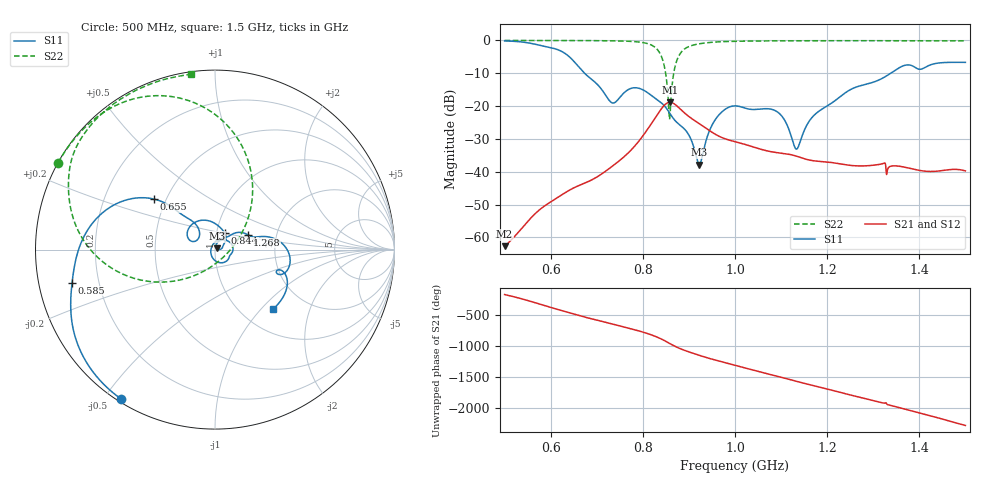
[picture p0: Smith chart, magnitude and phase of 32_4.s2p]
! TOUCHSTONE file generated by CST MICROWAVE STUDIO
! Date and time: Wed Oct 28 19:19:35 2020
! Project name: Scenario_1_Circular_Tissue_out_of_Line.cst
! Parameters = {dy1=191.571; L_HA=400; MT=2.54; Rad_Dielectric=30; Rad_Lower=7.3; Rad_Upper=30; a_HA=580; a_WG=246; b_HA=500; b_WG=121; c_HA=0; c_WG=187; d_feed=85; dx1=693; h_feed=15; h_lower=18; h_upper=40}
! Header version: 2018
! Port assignment regex: !\s*Touchstone port\s*([0-9]+)\s*=\s*(CST MWS port|CST DS port)\s*([0-9]+|Zmin|Zmax)\s*\(\"(.*)\"\)(\s*mode\s*([0-9]+))?.*
! Touchstone port assignment:
! Touchstone port 1 = CST MWS port 1 ("")
! Touchstone port 2 = CST MWS port 2 ("")
# GHz S DB R 50
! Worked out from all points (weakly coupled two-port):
!   1001 points, 500 MHz to 1.5 GHz, reference 50 ohm
!   highest |S21| = -18.84 dB at 859 MHz (marker M1); lowest = -62.7 dB at 500 MHz (marker M2)
!   lowest |S11| = -37.9 dB at 922 MHz (marker M3), VSWR 1.03, Z = 51.1 + j0.735 ohm
!   |S11| at or under -10 dB: 673.5 MHz to 1.338 GHz (664.2 MHz wide, 66.1 % of centre)
!   |S22| runs from -24.1 to 0.0 dB; largest |S21 - S12| = 0.0013
!   S11 on the Smith chart (normalised r, x): 500 MHz: 0.01, -0.55; 585 MHz: 0.10, -0.11; 655 MHz: 0.43, +0.30; 844 MHz: 1.10, +0.20; 1.268 GHz: 1.42, +0.25; 1.5 GHz: 1.37, -1.17
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0.5  -0.15 -122.3  -62.68 -174.7  -62.68 -174.7  -0.01 151.1
0.585  -1.75 -167.0  -50.60 11.5  -50.60 11.5  -0.02 145.2
0.618  -2.96 170.0  -47.58 -59.4  -47.58 -59.4  -0.02 142.7
0.655  -7.11 140.3  -44.59 -137.8  -44.59 -137.8  -0.04 139.5
0.667  -9.05 135.9  -43.86 -162.3  -43.86 -162.3  -0.04 138.3
0.733  -19.00 142.9  -38.40 75.0  -38.40 75.0  -0.11 130.4
0.782  -14.42 135.0  -32.25 -18.3  -32.25 -18.3  -0.36 119.7
0.834  -18.36 72.3  -22.05 -146.4  -22.05 -146.4  -3.23 83.8
0.844  -19.52 59.2  -20.15 178.5  -20.15 178.5  -6.39 65.3
0.859  -22.30 40.1  -18.84 118.1  -18.84 118.1  -22.82 -79.9
0.869  -24.27 33.3  -19.40 78.8  -19.40 78.8  -8.52 -151.2
0.878  -25.49 28.2  -20.48 47.9  -20.48 47.9  -4.74 -169.3
0.901  -29.12 6.8  -23.30 -16.2  -23.30 -16.2  -1.80 167.0
0.922  -37.86 34.2  -25.32 -67.4  -25.32 -67.4  -1.04 157.0
0.956  -24.39 58.4  -28.49 -141.9  -28.49 -141.9  -0.50 147.8
1  -19.93 3.7  -30.85 133.0  -30.85 133.0  -0.27 140.2
1.092  -21.78 -64.4  -34.20 -44.2  -34.20 -44.2  -0.13 130.4
1.133  -33.12 168.8  -35.24 -124.8  -35.24 -124.8  -0.11 126.9
1.167  -23.50 63.6  -36.59 173.1  -36.59 173.1  -0.09 124.2
1.268  -13.97 24.7  -38.24 -16.1  -38.24 -16.1  -0.08 116.4
1.334  -10.35 13.6  -38.61 -143.8  -38.64 -143.8  -0.09 111.4
1.5  -6.68 -46.0  -39.76 -112.3  -39.78 -112.0  -0.13 97.8
